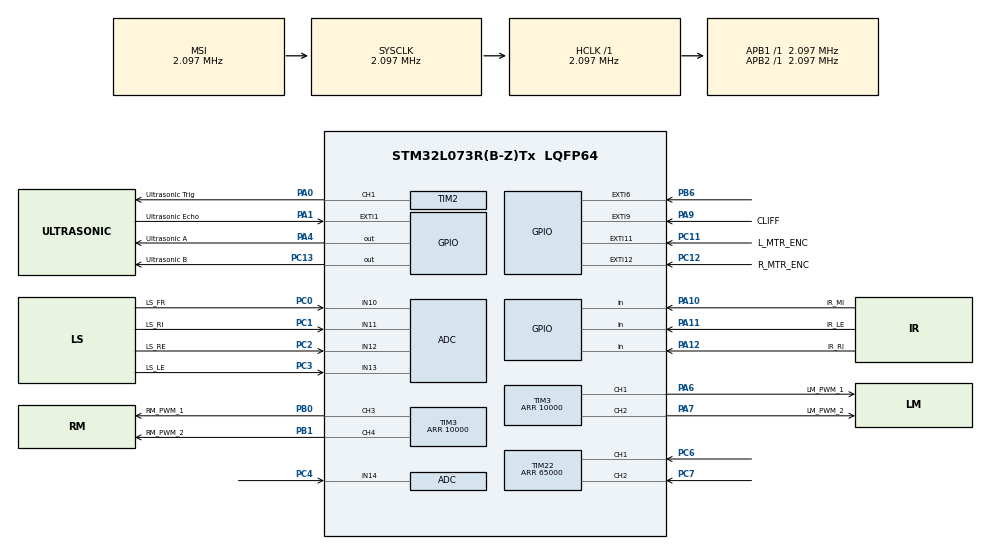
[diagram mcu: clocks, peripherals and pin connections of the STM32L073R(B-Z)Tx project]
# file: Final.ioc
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ADC.ContinuousConvMode=DISABLE
ADC.DiscontinuousConvMode=DISABLE
ADC.SamplingTime=ADC_SAMPLETIME_39CYCLES_5
Mcu.Family=STM32L0
Mcu.Name=STM32L073R(B-Z)Tx
Mcu.Package=LQFP64
NVIC.EXTI0_1_IRQn=true\:0\:0\:false\:false\:true\:true\:true
NVIC.EXTI4_15_IRQn=true\:0\:0\:false\:false\:true\:true\:true
NVIC.TIM22_IRQn=true\:0\:0\:false\:false\:true\:true\:true
NVIC.TIM6_DAC_IRQn=true\:0\:0\:false\:false\:true\:true\:true
PA0.GPIO_Label=Ultrasonic Trig
PA0.Signal=S_TIM2_CH1
PA1.GPIO_Label=Ultrasonic Echo
PA1.Signal=GPXTI1
PA10.GPIO_Label=IR_MI
PA10.Signal=GPIO_Input
PA11.GPIO_Label=IR_LE
PA11.Signal=GPIO_Input
PA12.GPIO_Label=IR_RI
PA12.Signal=GPIO_Input
PA13.Mode=Serial_Wire
PA13.Signal=SYS_SWDIO
PA14.Mode=Serial_Wire
PA14.Signal=SYS_SWCLK
PA4.GPIO_Label=Ultrasonic A
PA4.Signal=GPIO_Output
PA6.GPIO_Label=LM_PWM_1
PA6.Signal=S_TIM3_CH1
PA7.GPIO_Label=LM_PWM_2
PA7.Signal=S_TIM3_CH2
PA9.GPIO_Label=CLIFF
PA9.Signal=GPXTI9
PB0.GPIO_Label=RM_PWM_1
PB0.Signal=S_TIM3_CH3
PB1.GPIO_Label=RM_PWM_2
PB1.Signal=S_TIM3_CH4
PB6.Signal=GPXTI6
PC0.GPIO_Label=LS_FR
PC0.Mode=IN10
PC0.Signal=ADC_IN10
PC1.GPIO_Label=LS_RI
PC1.Mode=IN11
PC1.Signal=ADC_IN11
PC11.GPIO_Label=L_MTR_ENC
PC11.Signal=GPXTI11
PC12.GPIO_Label=R_MTR_ENC
PC12.Signal=GPXTI12
PC13.GPIO_Label=Ultrasonic B
PC13.Signal=GPIO_Output
PC2.GPIO_Label=LS_RE
PC2.Mode=IN12
PC2.Signal=ADC_IN12
PC3.GPIO_Label=LS_LE
PC3.Mode=IN13
PC3.Signal=ADC_IN13
PC4.Mode=IN14
PC4.Signal=ADC_IN14
PC6.Signal=S_TIM22_CH1
PC7.Signal=S_TIM22_CH2
ProjectManager.HeapSize=0x200
ProjectManager.StackSize=0x400
ProjectManager.TargetToolchain=STM32CubeIDE
RCC.AHBFreq_Value=2097000
RCC.APB1Freq_Value=2097000
RCC.APB1TimFreq_Value=2097000
RCC.APB2Freq_Value=2097000
RCC.APB2TimFreq_Value=2097000
RCC.HSE_VALUE=8000000
RCC.HSI16_VALUE=16000000
RCC.HSI48_VALUE=48000000
RCC.HSI_VALUE=16000000
RCC.LSE_VALUE=32768
RCC.MSI_VALUE=2097000
RCC.SYSCLKFreq_VALUE=2097000
RCC.VCOOutputFreq_Value=48000000
SH.S_TIM22_CH1.0=TIM22_CH1,Encoder_Interface
SH.S_TIM22_CH2.0=TIM22_CH2,Encoder_Interface
SH.S_TIM2_CH1.0=TIM2_CH1,PWM Generation1 CH1
SH.S_TIM3_CH1.0=TIM3_CH1,PWM Generation1 CH1
SH.S_TIM3_CH2.0=TIM3_CH2,PWM Generation2 CH2
SH.S_TIM3_CH3.0=TIM3_CH3,PWM Generation3 CH3
SH.S_TIM3_CH4.0=TIM3_CH4,PWM Generation4 CH4
TIM2.Channel-PWM\ Generation1\ CH1=TIM_CHANNEL_1
TIM22.ClockDivision=TIM_CLOCKDIVISION_DIV4
TIM22.EncoderMode=TIM_ENCODERMODE_TI12
TIM22.IC1Filter=4
TIM22.IC1Polarity=TIM_ICPOLARITY_FALLING
TIM22.IC2Polarity=TIM_ICPOLARITY_FALLING
TIM22.IC2Prescaler=TIM_ICPSC_DIV4
TIM22.Period=65000
TIM3.Channel-PWM\ Generation1\ CH1=TIM_CHANNEL_1
TIM3.Channel-PWM\ Generation2\ CH2=TIM_CHANNEL_2
TIM3.Channel-PWM\ Generation3\ CH3=TIM_CHANNEL_3
TIM3.Channel-PWM\ Generation4\ CH4=TIM_CHANNEL_4
TIM3.Period=10000
TIM6.Period=249
TIM6.Prescaler=2099
VP_TIM3_VS_ClockSourceINT.Mode=Internal
VP_TIM6_VS_ClockSourceINT.Mode=Enable_Timer
board=custom

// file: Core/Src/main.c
/* USER CODE BEGIN Header */
/**
 ******************************************************************************
 * @file           : main.c
 * @brief          : Main program body
 ******************************************************************************
 * @attention
 *
 * <h2><center>&copy; Copyright (c) 2019 STMicroelectronics.
 * All rights reserved.</center></h2>
 *
 * This software component is licensed by ST under BSD 3-Clause license,
 * the "License"; You may not use this file except in compliance with the
 * License. You may obtain a copy of the License at:
 *                        opensource.org/licenses/BSD-3-Clause
 *
 ******************************************************************************
 */
/* USER CODE END Header */

#include "main.h"

ADC_HandleTypeDef hadc;

TIM_HandleTypeDef htim2;
TIM_HandleTypeDef htim3;
TIM_HandleTypeDef htim6;
TIM_HandleTypeDef htim22;

/* USER CODE BEGIN PV */
Motor left_motor;
Motor right_motor;
Robot robot;
uint16_t ADC_Values[5], buffer[5]; // ADC DMA Buffers

/* USER CODE END PV */

void SystemClock_Config(void);
static void MX_GPIO_Init(void);
static void MX_TIM3_Init(void);
static void MX_TIM2_Init(void);
static void MX_TIM6_Init(void);
static void MX_ADC_Init(void);
static void MX_TIM22_Init(void);

int main(void)
{

  /* MCU Configuration--------------------------------------------------------*/

  /* Reset of all peripherals, Initializes the Flash interface and the Systick. */
  HAL_Init();

  /* Configure the system clock */
  SystemClock_Config();

  /* Initialize all configured peripherals */
  MX_GPIO_Init();
  MX_TIM3_Init();
  MX_TIM2_Init();
  MX_TIM6_Init();
  MX_ADC_Init();
  MX_TIM22_Init();
  /* USER CODE BEGIN 2 */
	HAL_TIM_PWM_Start(&htim3, TIM_CHANNEL_1);
	HAL_TIM_PWM_Start(&htim3, TIM_CHANNEL_2);
	HAL_TIM_PWM_Start(&htim3, TIM_CHANNEL_3);
	HAL_TIM_PWM_Start(&htim3, TIM_CHANNEL_4);

	// right_motor
	Motor right_motor;
	right_motor.dir = 0;
	right_motor.encoder = 0;
	right_motor.timer = &htim3;
	right_motor.ch1 = TIM_CHANNEL_1;
	right_motor.ch2 = TIM_CHANNEL_2;
	right_motor.rad_pid.Kp = 100.0;
	right_motor.rad_pid.Ki = 0;
	right_motor.rad_pid.Kd = 0;
	right_motor.pos_pid.Kp = 1000.0;
	right_motor.pos_pid.Ki = 0;
	right_motor.pos_pid.Kd = 0;

	// left motor
	Motor left_motor;
	left_motor.dir = 0;
	left_motor.encoder = 0;
	left_motor.timer = &htim3;
	left_motor.ch1 = TIM_CHANNEL_3;
	left_motor.ch2 = TIM_CHANNEL_4;
	left_motor.rad_pid.Kp = 100.0;
	left_motor.rad_pid.Ki = 0;
	left_motor.rad_pid.Kd = 0;
	left_motor.pos_pid.Kp = 1000.0;
	left_motor.pos_pid.Ki = 0;
	left_motor.pos_pid.Kd = 0;

	Robot robot;
	robot.left = left_motor;
	robot.right = right_motor;
	robot.x = 0;
	robot.y = 0;
	robot.theta = 0;
	robot.stop = 0;
	robot.cliff = 0;

	HAL_ADCEx_Calibration_Start(&hadc, ADC_SINGLE_ENDED);
	TIM22->CR1 |= TIM_CR1_CEN;
	  RCC->IOPENR |= RCC_IOPENR_GPIOBEN;
	  bitbang_init_lcd();
	  TIM22->CNT = 30000;

	  HAL_TIM_Base_Start_IT(&htim6);
  /* USER CODE END 2 */

  /* Infinite loop */
  /* USER CODE BEGIN WHILE */
	DMAInit((uint32_t*) buffer, 5);
	TIM2_conf();
	arm_pid_init_f32(&robot.right.pos_pid,1);
	arm_pid_init_f32(&robot.right.rad_pid,1);
	arm_pid_init_f32(&robot.left.pos_pid,1);
	arm_pid_init_f32(&robot.left.rad_pid,1);

	HAL_GPIO_WritePin(SOIL_MTR_PWR_GPIO_Port, SOIL_MTR_PWR_Pin, GPIO_PIN_SET);

	int sw = 0;
//	Menu_Main();
	while (1)
	{
    /* USER CODE END WHILE */

    /* USER CODE BEGIN 3 */
		if(robot.stop){
			stop(&robot);
		} else {
		if(robot.cliff){
			stop(&robot);
		} else {
			if(check_light_variance()){
				if(turn_until(&robot, check_light_direction) && !robot.obstacle[1]){
						if(robot.obstacle[0]){
							if(turn_until(&robot, obstacle_left)){
								move_until(&robot, ret_one, 1);
								HAL_Delay(2000);
							}
						} else if (robot.obstacle[2]){
							if(turn_until(&robot, obstacle_right)){
								move_until(&robot, ret_one, 1);
								HAL_Delay(2000);
							}
						} else move_until(&robot, check_light_variance, 0);
					}
			} else{
				stop(&robot);
			}

		if(buffer[4] < 500){
			HAL_GPIO_WritePin(SOIL_LED_GPIO_Port, SOIL_LED_Pin, GPIO_PIN_SET);
		} else {
			HAL_GPIO_WritePin(SOIL_LED_GPIO_Port, SOIL_LED_Pin, GPIO_PIN_RESET);
		}
//			if(IR_align()){
//				if(turn_until(&robot, IR_align)){
//					move_until(&robot, IR_dock, 1);
//				}
//			} else{
//				stop(&robot);
//			}
		}
//			if(sw == 0){
//					if(robot.x < 12){
//						move_x(&robot, 12);
//					} else {
//						sw = 1;
//					}
//			} else {
//					if(robot.x > 0){
//						move_x(&robot, 0);
//					} else {
//							sw = 0;
//					}
//			}
		}
//		if(robot.cliff){
//			stop(&robot);
//		} else {
//			if(check_light_variance()){
//				if(turn_until(&robot, check_light_direction)){
//					move_until(&robot, check_light_variance, 0);
//				}
//			} else{
//				stop(&robot);
//			}
//		}

	}
  /* USER CODE END 3 */
}

void SystemClock_Config(void)
{
  RCC_OscInitTypeDef RCC_OscInitStruct = {0};
  RCC_ClkInitTypeDef RCC_ClkInitStruct = {0};

  /** Configure the main internal regulator output voltage
  */
  __HAL_PWR_VOLTAGESCALING_CONFIG(PWR_REGULATOR_VOLTAGE_SCALE1);
  /** Initializes the CPU, AHB and APB busses clocks
  */
  RCC_OscInitStruct.OscillatorType = RCC_OSCILLATORTYPE_MSI;
  RCC_OscInitStruct.MSIState = RCC_MSI_ON;
  RCC_OscInitStruct.MSICalibrationValue = 0;
  RCC_OscInitStruct.MSIClockRange = RCC_MSIRANGE_5;
  RCC_OscInitStruct.PLL.PLLState = RCC_PLL_NONE;
  if (HAL_RCC_OscConfig(&RCC_OscInitStruct) != HAL_OK)
  {
    Error_Handler();
  }
  /** Initializes the CPU, AHB and APB busses clocks
  */
  RCC_ClkInitStruct.ClockType = RCC_CLOCKTYPE_HCLK|RCC_CLOCKTYPE_SYSCLK
                              |RCC_CLOCKTYPE_PCLK1|RCC_CLOCKTYPE_PCLK2;
  RCC_ClkInitStruct.SYSCLKSource = RCC_SYSCLKSOURCE_MSI;
  RCC_ClkInitStruct.AHBCLKDivider = RCC_SYSCLK_DIV1;
  RCC_ClkInitStruct.APB1CLKDivider = RCC_HCLK_DIV1;
  RCC_ClkInitStruct.APB2CLKDivider = RCC_HCLK_DIV1;

  if (HAL_RCC_ClockConfig(&RCC_ClkInitStruct, FLASH_LATENCY_0) != HAL_OK)
  {
    Error_Handler();
  }
}

static void MX_ADC_Init(void)
{

  ADC_ChannelConfTypeDef sConfig = {0};

  /** Configure the global features of the ADC (Clock, Resolution, Data Alignment and number of conversion)
  */
  hadc.Instance = ADC1;
  hadc.Init.OversamplingMode = DISABLE;
  hadc.Init.ClockPrescaler = ADC_CLOCK_SYNC_PCLK_DIV1;
  hadc.Init.Resolution = ADC_RESOLUTION_12B;
  hadc.Init.SamplingTime = ADC_SAMPLETIME_39CYCLES_5;
  hadc.Init.ScanConvMode = ADC_SCAN_DIRECTION_FORWARD;
  hadc.Init.DataAlign = ADC_DATAALIGN_RIGHT;
  hadc.Init.ContinuousConvMode = DISABLE;
  hadc.Init.DiscontinuousConvMode = DISABLE;
  hadc.Init.ExternalTrigConvEdge = ADC_EXTERNALTRIGCONVEDGE_NONE;
  hadc.Init.ExternalTrigConv = ADC_SOFTWARE_START;
  hadc.Init.DMAContinuousRequests = DISABLE;
  hadc.Init.EOCSelection = ADC_EOC_SINGLE_CONV;
  hadc.Init.Overrun = ADC_OVR_DATA_PRESERVED;
  hadc.Init.LowPowerAutoWait = DISABLE;
  hadc.Init.LowPowerFrequencyMode = DISABLE;
  hadc.Init.LowPowerAutoPowerOff = DISABLE;
  if (HAL_ADC_Init(&hadc) != HAL_OK)
  {
    Error_Handler();
  }
  /** Configure for the selected ADC regular channel to be converted.
  */
  sConfig.Channel = ADC_CHANNEL_10;
  sConfig.Rank = ADC_RANK_CHANNEL_NUMBER;
  if (HAL_ADC_ConfigChannel(&hadc, &sConfig) != HAL_OK)
  {
    Error_Handler();
  }
  /** Configure for the selected ADC regular channel to be converted.
  */
  sConfig.Channel = ADC_CHANNEL_11;
  if (HAL_ADC_ConfigChannel(&hadc, &sConfig) != HAL_OK)
  {
    Error_Handler();
  }
  /** Configure for the selected ADC regular channel to be converted.
  */
  sConfig.Channel = ADC_CHANNEL_12;
  if (HAL_ADC_ConfigChannel(&hadc, &sConfig) != HAL_OK)
  {
    Error_Handler();
  }
  /** Configure for the selected ADC regular channel to be converted.
  */
  sConfig.Channel = ADC_CHANNEL_13;
  if (HAL_ADC_ConfigChannel(&hadc, &sConfig) != HAL_OK)
  {
    Error_Handler();
  }
  /** Configure for the selected ADC regular channel to be converted.
  */
  sConfig.Channel = ADC_CHANNEL_14;
  if (HAL_ADC_ConfigChannel(&hadc, &sConfig) != HAL_OK)
  {
    Error_Handler();
  }

}

static void MX_TIM2_Init(void)
{

  TIM_MasterConfigTypeDef sMasterConfig = {0};
  TIM_OC_InitTypeDef sConfigOC = {0};

  htim2.Instance = TIM2;
  htim2.Init.Prescaler = 0;
  htim2.Init.CounterMode = TIM_COUNTERMODE_UP;
  htim2.Init.Period = 0;
  htim2.Init.ClockDivision = TIM_CLOCKDIVISION_DIV1;
  htim2.Init.AutoReloadPreload = TIM_AUTORELOAD_PRELOAD_DISABLE;
  if (HAL_TIM_PWM_Init(&htim2) != HAL_OK)
  {
    Error_Handler();
  }
  sMasterConfig.MasterOutputTrigger = TIM_TRGO_RESET;
  sMasterConfig.MasterSlaveMode = TIM_MASTERSLAVEMODE_DISABLE;
  if (HAL_TIMEx_MasterConfigSynchronization(&htim2, &sMasterConfig) != HAL_OK)
  {
    Error_Handler();
  }
  sConfigOC.OCMode = TIM_OCMODE_PWM1;
  sConfigOC.Pulse = 0;
  sConfigOC.OCPolarity = TIM_OCPOLARITY_HIGH;
  sConfigOC.OCFastMode = TIM_OCFAST_DISABLE;
  if (HAL_TIM_PWM_ConfigChannel(&htim2, &sConfigOC, TIM_CHANNEL_1) != HAL_OK)
  {
    Error_Handler();
  }
  if (HAL_TIMEx_RemapConfig(&htim2, TIM3_TI1_GPIO) != HAL_OK)
  {
    Error_Handler();
  }
  HAL_TIM_MspPostInit(&htim2);

}

static void MX_TIM3_Init(void)
{

  TIM_ClockConfigTypeDef sClockSourceConfig = {0};
  TIM_MasterConfigTypeDef sMasterConfig = {0};
  TIM_OC_InitTypeDef sConfigOC = {0};

  htim3.Instance = TIM3;
  htim3.Init.Prescaler = 0;
  htim3.Init.CounterMode = TIM_COUNTERMODE_UP;
  htim3.Init.Period = 10000;
  htim3.Init.ClockDivision = TIM_CLOCKDIVISION_DIV1;
  htim3.Init.AutoReloadPreload = TIM_AUTORELOAD_PRELOAD_DISABLE;
  if (HAL_TIM_Base_Init(&htim3) != HAL_OK)
  {
    Error_Handler();
  }
  sClockSourceConfig.ClockSource = TIM_CLOCKSOURCE_INTERNAL;
  if (HAL_TIM_ConfigClockSource(&htim3, &sClockSourceConfig) != HAL_OK)
  {
    Error_Handler();
  }
  if (HAL_TIM_PWM_Init(&htim3) != HAL_OK)
  {
    Error_Handler();
  }
  sMasterConfig.MasterOutputTrigger = TIM_TRGO_RESET;
  sMasterConfig.MasterSlaveMode = TIM_MASTERSLAVEMODE_DISABLE;
  if (HAL_TIMEx_MasterConfigSynchronization(&htim3, &sMasterConfig) != HAL_OK)
  {
    Error_Handler();
  }
  sConfigOC.OCMode = TIM_OCMODE_PWM1;
  sConfigOC.Pulse = 0;
  sConfigOC.OCPolarity = TIM_OCPOLARITY_HIGH;
  sConfigOC.OCFastMode = TIM_OCFAST_DISABLE;
  if (HAL_TIM_PWM_ConfigChannel(&htim3, &sConfigOC, TIM_CHANNEL_1) != HAL_OK)
  {
    Error_Handler();
  }
  if (HAL_TIMEx_RemapConfig(&htim3, TIM3_TI1_GPIO) != HAL_OK)
  {
    Error_Handler();
  }
  if (HAL_TIM_PWM_ConfigChannel(&htim3, &sConfigOC, TIM_CHANNEL_2) != HAL_OK)
  {
    Error_Handler();
  }
  if (HAL_TIM_PWM_ConfigChannel(&htim3, &sConfigOC, TIM_CHANNEL_3) != HAL_OK)
  {
    Error_Handler();
  }
  if (HAL_TIM_PWM_ConfigChannel(&htim3, &sConfigOC, TIM_CHANNEL_4) != HAL_OK)
  {
    Error_Handler();
  }
  HAL_TIM_MspPostInit(&htim3);

}

static void MX_TIM6_Init(void)
{

  TIM_MasterConfigTypeDef sMasterConfig = {0};

  htim6.Instance = TIM6;
  htim6.Init.Prescaler = 2099;
  htim6.Init.CounterMode = TIM_COUNTERMODE_UP;
  htim6.Init.Period = 249;
  htim6.Init.AutoReloadPreload = TIM_AUTORELOAD_PRELOAD_DISABLE;
  if (HAL_TIM_Base_Init(&htim6) != HAL_OK)
  {
    Error_Handler();
  }
  sMasterConfig.MasterOutputTrigger = TIM_TRGO_RESET;
  sMasterConfig.MasterSlaveMode = TIM_MASTERSLAVEMODE_DISABLE;
  if (HAL_TIMEx_MasterConfigSynchronization(&htim6, &sMasterConfig) != HAL_OK)
  {
    Error_Handler();
  }

}

static void MX_TIM22_Init(void)
{

  TIM_Encoder_InitTypeDef sConfig = {0};
  TIM_MasterConfigTypeDef sMasterConfig = {0};

  htim22.Instance = TIM22;
  htim22.Init.Prescaler = 0;
  htim22.Init.CounterMode = TIM_COUNTERMODE_UP;
  htim22.Init.Period = 65000;
  htim22.Init.ClockDivision = TIM_CLOCKDIVISION_DIV4;
  htim22.Init.AutoReloadPreload = TIM_AUTORELOAD_PRELOAD_DISABLE;
  sConfig.EncoderMode = TIM_ENCODERMODE_TI12;
  sConfig.IC1Polarity = TIM_ICPOLARITY_FALLING;
  sConfig.IC1Selection = TIM_ICSELECTION_DIRECTTI;
  sConfig.IC1Prescaler = TIM_ICPSC_DIV1;
  sConfig.IC1Filter = 4;
  sConfig.IC2Polarity = TIM_ICPOLARITY_FALLING;
  sConfig.IC2Selection = TIM_ICSELECTION_DIRECTTI;
  sConfig.IC2Prescaler = TIM_ICPSC_DIV4;
  sConfig.IC2Filter = 0;
  if (HAL_TIM_Encoder_Init(&htim22, &sConfig) != HAL_OK)
  {
    Error_Handler();
  }
  sMasterConfig.MasterOutputTrigger = TIM_TRGO_RESET;
  sMasterConfig.MasterSlaveMode = TIM_MASTERSLAVEMODE_DISABLE;
  if (HAL_TIMEx_MasterConfigSynchronization(&htim22, &sMasterConfig) != HAL_OK)
  {
    Error_Handler();
  }
  if (HAL_TIMEx_RemapConfig(&htim22, TIM3_TI1_GPIO) != HAL_OK)
  {
    Error_Handler();
  }

}

static void MX_GPIO_Init(void)
{
  GPIO_InitTypeDef GPIO_InitStruct = {0};

  /* GPIO Ports Clock Enable */
  __HAL_RCC_GPIOC_CLK_ENABLE();
  __HAL_RCC_GPIOA_CLK_ENABLE();
  __HAL_RCC_GPIOB_CLK_ENABLE();

  /*Configure GPIO pin Output Level */
  HAL_GPIO_WritePin(Ultrasonic_B_GPIO_Port, Ultrasonic_B_Pin, GPIO_PIN_RESET);

  /*Configure GPIO pin Output Level */
  HAL_GPIO_WritePin(Ultrasonic_A_GPIO_Port, Ultrasonic_A_Pin, GPIO_PIN_RESET);

  /*Configure GPIO pin : Ultrasonic_B_Pin */
  GPIO_InitStruct.Pin = Ultrasonic_B_Pin;
  GPIO_InitStruct.Mode = GPIO_MODE_OUTPUT_PP;
  GPIO_InitStruct.Pull = GPIO_NOPULL;
  GPIO_InitStruct.Speed = GPIO_SPEED_FREQ_LOW;
  HAL_GPIO_Init(Ultrasonic_B_GPIO_Port, &GPIO_InitStruct);

  /*Configure GPIO pins : Ultrasonic_Echo_Pin CLIFF_Pin */
  GPIO_InitStruct.Pin = Ultrasonic_Echo_Pin|CLIFF_Pin;
  GPIO_InitStruct.Mode = GPIO_MODE_IT_RISING;
  GPIO_InitStruct.Pull = GPIO_NOPULL;
  HAL_GPIO_Init(GPIOA, &GPIO_InitStruct);

  /*Configure GPIO pin : Ultrasonic_A_Pin */
  GPIO_InitStruct.Pin = Ultrasonic_A_Pin;
  GPIO_InitStruct.Mode = GPIO_MODE_OUTPUT_PP;
  GPIO_InitStruct.Pull = GPIO_NOPULL;
  GPIO_InitStruct.Speed = GPIO_SPEED_FREQ_LOW;
  HAL_GPIO_Init(Ultrasonic_A_GPIO_Port, &GPIO_InitStruct);

  /*Configure GPIO pins : IR_MI_Pin IR_LE_Pin IR_RI_Pin */
  GPIO_InitStruct.Pin = IR_MI_Pin|IR_LE_Pin|IR_RI_Pin;
  GPIO_InitStruct.Mode = GPIO_MODE_INPUT;
  GPIO_InitStruct.Pull = GPIO_NOPULL;
  HAL_GPIO_Init(GPIOA, &GPIO_InitStruct);

  /*Configure GPIO pins : L_MTR_ENC_Pin R_MTR_ENC_Pin */
  GPIO_InitStruct.Pin = L_MTR_ENC_Pin|R_MTR_ENC_Pin;
  GPIO_InitStruct.Mode = GPIO_MODE_IT_RISING;
  GPIO_InitStruct.Pull = GPIO_NOPULL;
  HAL_GPIO_Init(GPIOC, &GPIO_InitStruct);

  /*Configure GPIO pin : PB6 */
  GPIO_InitStruct.Pin = GPIO_PIN_6;
  GPIO_InitStruct.Mode = GPIO_MODE_IT_RISING;
  GPIO_InitStruct.Pull = GPIO_NOPULL;
  HAL_GPIO_Init(GPIOB, &GPIO_InitStruct);

  /* EXTI interrupt init*/
  HAL_NVIC_SetPriority(EXTI0_1_IRQn, 0, 0);
  HAL_NVIC_EnableIRQ(EXTI0_1_IRQn);

  HAL_NVIC_SetPriority(EXTI4_15_IRQn, 0, 0);
  HAL_NVIC_EnableIRQ(EXTI4_15_IRQn);

}

void Error_Handler(void)
{
}

/************************ (C) COPYRIGHT STMicroelectronics *****END OF FILE****/
